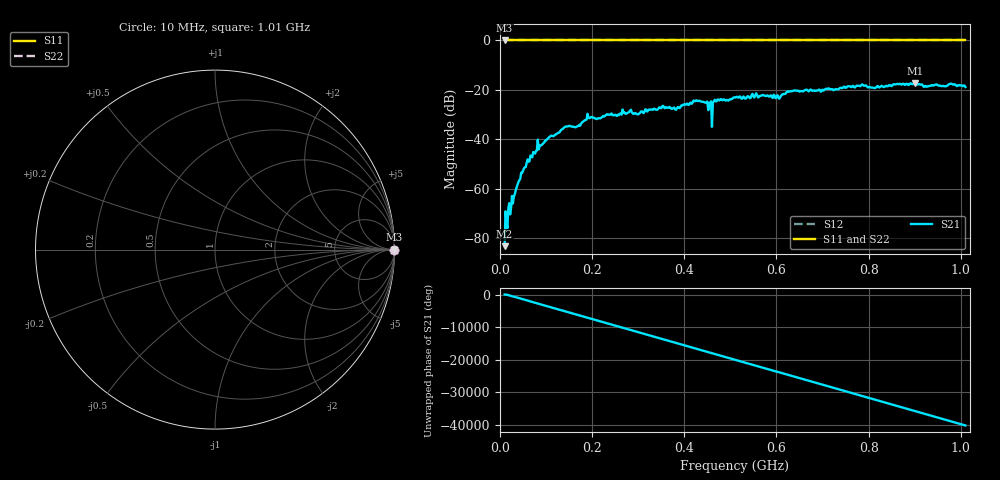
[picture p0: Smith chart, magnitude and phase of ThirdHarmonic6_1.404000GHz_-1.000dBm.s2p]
! 8/16/2025 4:04:09 PM
! C:\ANRITSUVNA\TEMP\TEMP.S2P
! CHANNEL.1
! TR.MEASUREMENT
! RAW.DATA
! RF.CORRECTION.OFF
! AVERAGING.OFF
! IF.BANDWIDTH: 5KHZ
! SWEEPTYPE:  FREQ.SWEEP(Linear)
! Reference Plane Port Info
! PORT:  PORT1  PORT2
! DISTANCE:  0  m  0  m
! TIME:  0  s  0  s
! PHASE.OFFSET:  0  deg.  0  deg.
! LOSS:  0  dB  0  dB
! REF.LOSS:  0  dB  0  dB
! REF.FREQ:  0  Hz  0  Hz
! Power Info
! POWER:  -20  dBm  -20  dBm
! EFF.POWER:  -20  dBm  -20  dBm
! SOURCE.ATTEN:  0  dB  0  dB
! TEST.ATTEN:  0  dB  0  dB
# GHZ S RI R 50.0
! FREQ.GHZ  S11RE  S11IM  S21RE  S21IM  S12RE  S12IM  S22RE  S22IM
!; PortSelection: Port_12
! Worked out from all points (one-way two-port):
!   501 points, 10 MHz to 1.01 GHz, reference 50 ohm
!   highest |S21| = -17.33 dB at 900 MHz (marker M1); lowest = -83.3 dB at 10 MHz (marker M2)
!   lowest |S11| = 0.0 dB at 10 MHz (marker M3)
!   |S11| at or under -10 dB: nowhere
!   |S22| runs from 0.0 to 0.0 dB; largest |S21 - S12| = 1.1
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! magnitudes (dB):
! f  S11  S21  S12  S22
! 10 MHz  0.0  -83.3  0.0  0.0
! 16 MHz  0.0  -76.1  0.0  0.0
! 20 MHz  0.0  -65.9  0.0  0.0
! 22 MHz  0.0  -70.5  0.0  0.0
! 44 MHz  0.0  -56.0  0.0  0.0
! 78 MHz  0.0  -44.8  0.0  0.0
! 140 MHz  0.0  -35.2  0.0  0.0
! 178 MHz  0.0  -33.2  0.0  0.0
! 194 MHz  0.0  -31.5  0.0  0.0
! 344 MHz  0.0  -27.5  0.0  0.0
! 384 MHz  0.0  -27.5  0.0  0.0
! 430 MHz  0.0  -24.5  0.0  0.0
! 454 MHz  0.0  -25.4  0.0  0.0
! 456 MHz  0.0  -25.2  0.0  0.0
! 468 MHz  0.0  -24.7  0.0  0.0
! 510 MHz  0.0  -23.1  0.0  0.0
! 602 MHz  0.0  -22.2  0.0  0.0
! 626 MHz  0.0  -20.8  0.0  0.0
! 678 MHz  0.0  -20.4  0.0  0.0
! 844 MHz  0.0  -18.1  0.0  0.0
! 900 MHz  0.0  -17.3  0.0  0.0
! 1.01 GHz  0.0  -18.9  0.0  0.0
